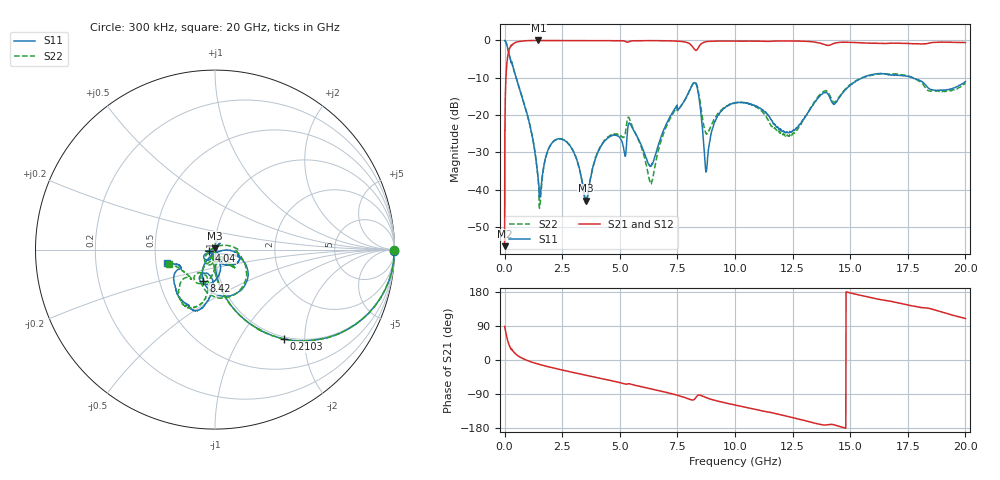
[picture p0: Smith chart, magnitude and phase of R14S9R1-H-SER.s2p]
!{R14S9R1}
!Johanson Technology Inc.
!www.johansontechnology.com
!Test Board Conditions:
!Substrate Type  RO4350B
!Substrate Thickness  20 mil
!Substrate Dk  3.66
!TL Type: GCPW
!TL Trace Width  36 mil
!TL Gap  12 mil
!Electrode orientation  Horizontal
!DUT TOPOLOGY	SERIES
!Mounting Pad LxW  26x36 mil
! Created Wed Nov 25 17:33:21 2020
! 2 Port Network Data from SP1.SP block
! freq  magS11  angS11  magS21  angS21  magS12  angS12  magS22  angS22
# khz S ma R 50
! decimated to every 10th point (10 MHz spacing) of the original 1 MHz Johanson file; values unchanged
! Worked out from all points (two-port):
!   2001 points, 300 kHz to 20 GHz, reference 50 ohm
!   highest |S21| = -0.01 dB at 1.47 GHz (marker M1); lowest = -55.2 dB at 300 kHz (marker M2)
!   |S21| within 3 dB of the highest: 173.9 MHz to end of sweep
!   lowest |S11| = -43.0 dB at 3.52 GHz (marker M3), VSWR 1.01, Z = 49.7 + j0.649 ohm
!   |S11| at or under -10 dB: 499.9 MHz to 15.52 GHz (15.02 GHz wide, 188 % of centre); 17.72 GHz to end of sweep
!   |S22| runs from -45.0 to 0.0 dB; largest |S21 - S12| = 0.017
!   S11 on the Smith chart (normalised r, x): 300 kHz: open; 210.3 MHz: 0.96, -1.58; 4.04 GHz: 0.94, -0.01; 8.42 GHz: 0.83, -0.30; 20 GHz: 0.57, -0.10
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300  0.9968 -0.3  0.001744 88.6  0.001719 90.5  0.9967 -0.3
110300  0.8423 -33.3  0.5353 56.6  0.5362 56.5  0.8427 -33.2
210300  0.6281 -52.4  0.7731 37.3  0.7745 37.3  0.6291 -52.3
1120300  0.06797 -89.7  0.9965 -4.3  0.9961 -4.4  0.0691 -97.0
1470300  0.01266 -58.7  0.9992 -11.0  0.9976 -11.0  0.01211 -131.4
2360300  0.04801 54.0  0.9973 -24.5  0.9972 -24.5  0.04802 75.7
3340300  0.01421 63.1  0.9977 -37.8  0.9967 -37.7  0.01372 40.8
3520300  0.007087 112.9  0.9962 -40.0  0.9971 -40.1  0.006623 -16.1
4040300  0.03123 -170.1  0.9962 -46.9  0.9956 -46.9  0.03178 -105.1
5210300  0.03006 -156.5  0.978 -63.1  0.9778 -63.1  0.0522 -103.9
5400300  0.07814 -135.3  0.9611 -62.7  0.9619 -62.7  0.09147 -125.4
6330300  0.02044 -93.3  0.9941 -75.9  0.9932 -75.9  0.01222 129.1
6670300  0.0393 -36.0  0.9929 -80.6  0.9923 -80.6  0.03335 41.7
8170300  0.2607 -51.0  0.8147 -105.6  0.8127 -105.5  0.2619 -55.6
8420300  0.1858 -110.2  0.8115 -92.3  0.8108 -92.2  0.1996 -112.5
8750300  0.01806 -56.5  0.9612 -99.4  0.9611 -99.4  0.05651 -87.7
9180300  0.08853 -3.9  0.9803 -107.3  0.9805 -107.4  0.09679 -44.9
1.00003e7  0.1452 -17.9  0.979 -118.7  0.9782 -118.8  0.1453 -42.0
1.22703e7  0.05867 -69.8  0.9838 -148.7  0.9847 -148.6  0.05313 -56.3
1.33403e7  0.1303 -77.9  0.9594 -164.8  0.9611 -164.8  0.1329 -94.9
1.66703e7  0.3437 -114.8  0.914 156.0  0.9065 155.5  0.3541 -117.8
2e7  0.2802 -164.1  0.9363 109.3  0.9344 109.6  0.2657 -162.9
